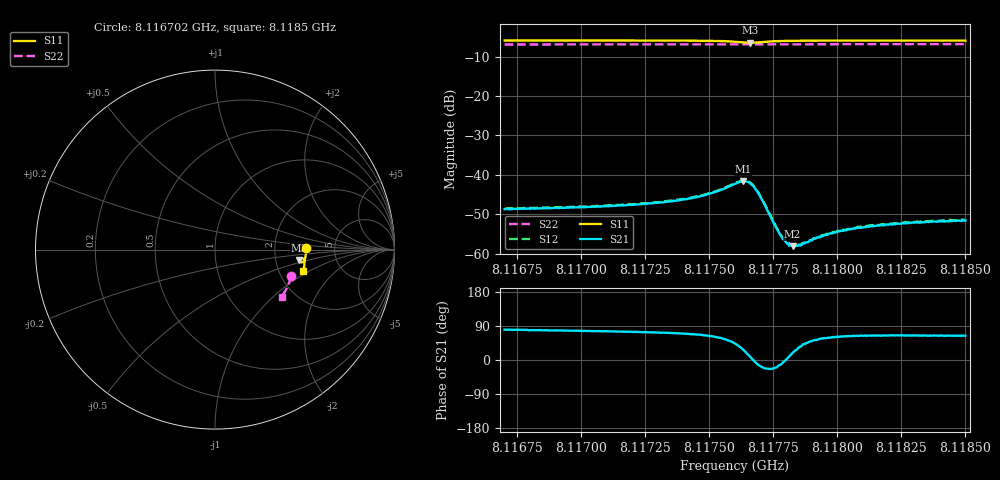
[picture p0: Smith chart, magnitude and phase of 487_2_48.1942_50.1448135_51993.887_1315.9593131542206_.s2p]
#  HZ  S  RI  R  50.00
! Rohde & Schwarz Vector Network Analyzer
! Rohde-Schwarz,ZNB20-2Port,1311601062101988,3.16
! Created: UTC 3/20/2024, 11:57:54 AM
! freq[Hz]  re:S11  im:S11  re:S21  im:S21  re:S12  im:S12  re:S22  im:S22
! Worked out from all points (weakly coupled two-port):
!   401 points, 8.116702 GHz to 8.1185 GHz, reference 50 ohm
!   highest |S21| = -41.65 dB at 8.117632 GHz (marker M1); lowest = -58.1 dB at 8.117826 GHz (marker M2)
!   lowest |S11| = -6.5 dB at 8.117659 GHz (marker M3), VSWR 2.80, Z = 136 - j20.4 ohm
!   |S11| at or under -10 dB: nowhere
!   |S22| runs from -6.9 to -6.8 dB; largest |S21 - S12| = 0.00021
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8.116702e9  0.5069 0.00668  0.000639 0.00362  0.00074 0.00369  0.4253 -0.1485
8.1170031e9  0.5062 -0.0166  0.000875 0.0038  0.000953 0.00383  0.4188 -0.1685
8.1171739e9  0.5049 -0.0304  0.00106 0.00398  0.00118 0.00401  0.4146 -0.1797
8.1173042e9  0.5036 -0.0414  0.00136 0.00424  0.00139 0.00428  0.4111 -0.1883
8.117457e9  0.5001 -0.0559  0.00204 0.00486  0.00216 0.00491  0.4068 -0.1982
8.1175289e9  0.4956 -0.0642  0.00303 0.00534  0.0031 0.00543  0.4046 -0.2028
8.1176008e9  0.4833 -0.0712  0.00556 0.00529  0.00576 0.00534  0.4019 -0.2073
8.1176323e9  0.474 -0.068  0.00733 0.00383  0.0075 0.00387  0.4005 -0.209
8.1176593e9  0.4699 -0.0581  0.00776 0.00121  0.00795 0.00117  0.3997 -0.21
8.1176772e9  0.4728 -0.0511  0.00684 -0.000481  0.007 -0.000529  0.3995 -0.2109
8.1176952e9  0.4784 -0.0473  0.00544 -0.00138  0.00555 -0.00144  0.3993 -0.2119
8.1177671e9  0.4947 -0.0536  0.00191 -0.000594  0.00193 -0.000605  0.3978 -0.2167
8.1177806e9  0.4959 -0.0557  0.00164 -0.000319  0.00167 -0.000351  0.3974 -0.2176
8.1178031e9  0.4972 -0.059  0.00134 6.7e-05  0.0014 3.86e-05  0.3969 -0.2191
8.1178255e9  0.4981 -0.0619  0.00118 0.000403  0.00119 0.000382  0.3961 -0.2205
8.1178525e9  0.4986 -0.0653  0.00105 0.000712  0.00108 0.00072  0.3954 -0.2223
8.1179019e9  0.4989 -0.0709  0.000936 0.00114  0.000977 0.00115  0.3938 -0.2253
8.1179469e9  0.4987 -0.0754  0.000913 0.00143  0.000922 0.00144  0.3924 -0.2282
8.1180143e9  0.4982 -0.0816  0.000915 0.00173  0.000945 0.00175  0.39 -0.2324
8.1180817e9  0.4975 -0.0873  0.000934 0.0019  0.000964 0.00198  0.3879 -0.2365
8.1182031e9  0.4957 -0.0972  0.00101 0.00213  0.00102 0.00216  0.3836 -0.2441
8.1184997e9  0.4908 -0.1199  0.00115 0.00236  0.00121 0.00241  0.3728 -0.2619
